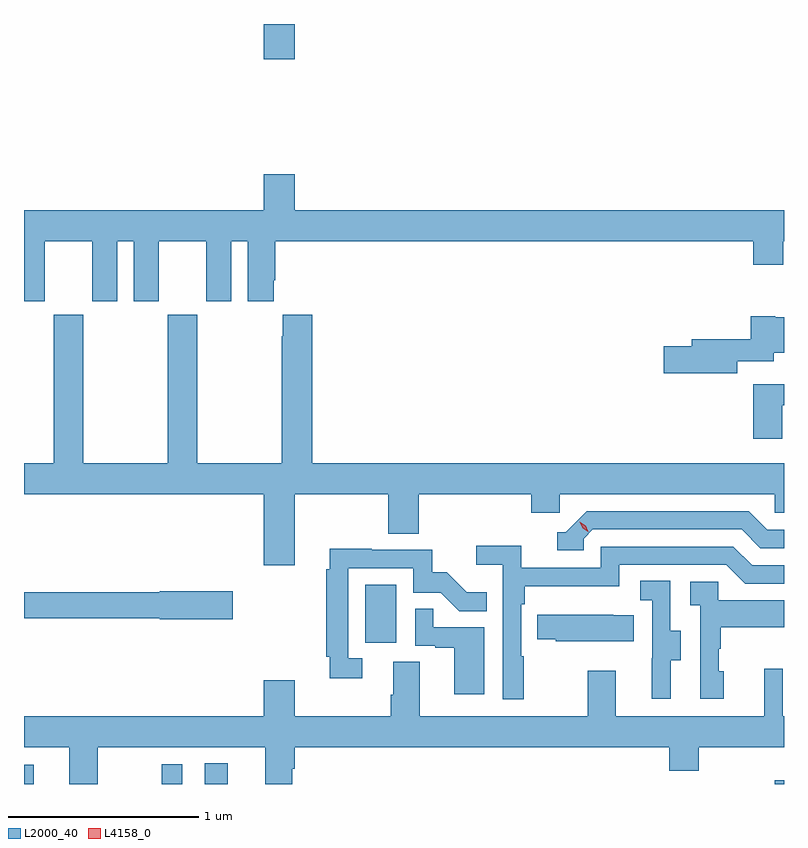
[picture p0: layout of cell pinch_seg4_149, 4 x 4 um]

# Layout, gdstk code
import gdstk
lib = gdstk.Library(unit=1e-6, precision=1e-09)
def R(c, l, rs):  # rectangles x0, y0, x1, y1
    for r in rs: c.add(gdstk.rectangle(r[:2], r[2:], *l))
def P(c, l, *ps):  # polygons
    for p in ps: c.add(gdstk.Polygon(p, *l))
L2000_40 = (2000, 40)
L4158_0 = (4158, 0)

pinch_seg4_149 = lib.new_cell('pinch_seg4_149')
R(pinch_seg4_149, L2000_40, [(1134.774,792.631,1134.824,792.733), (1135.5,792.631,1135.608,792.736), (1135.724,792.631,1135.846,792.739), (1138.725,792.631,1138.774,792.652), (1136.57,793.374,1136.734,793.681), (1136.036,796.446,1136.2,796.631)])
P(pinch_seg4_149, L2000_40, [(1134.883,795.488),(1135.133,795.488),(1135.133,795.171),(1135.264,795.171),(1135.264,795.488),(1135.352,795.488),(1135.352,795.171),(1135.483,795.171),(1135.483,795.488),(1135.733,795.488),(1135.733,795.171),(1135.864,795.171),(1135.864,795.488),(1135.952,795.488),(1135.952,795.171),(1136.089,795.171),(1136.089,795.283),(1136.096,795.283),(1136.096,795.488),(1138.613,795.488),(1138.613,795.364),(1138.769,795.364),(1138.769,795.488),(1138.774,795.488),(1138.774,795.652),(1136.2,795.652),(1136.2,795.841),(1136.036,795.841),(1136.036,795.652),(1134.774,795.652),(1134.774,795.171),(1134.883,795.171)],
  [(1136.2,794.156),(1136.692,794.156),(1136.692,793.948),(1136.852,793.948),(1136.852,794.156),(1137.443,794.156),(1137.443,794.058),(1137.594,794.058),(1137.594,794.156),(1138.725,794.156),(1138.725,794.058),(1138.774,794.058),(1138.774,794.32),(1136.291,794.32),(1136.291,795.1),(1136.135,795.1),(1136.135,794.987),(1136.131,794.987),(1136.131,794.32),(1135.686,794.32),(1135.686,795.1),(1135.531,795.1),(1135.531,794.32),(1135.086,794.32),(1135.086,795.1),(1134.931,795.1),(1134.931,794.32),(1134.774,794.32),(1134.774,794.156),(1136.036,794.156),(1136.036,793.782),(1136.2,793.782)],
  [(1138.528,794.856),(1138.72,794.856),(1138.72,794.9),(1138.774,794.9),(1138.774,795.088),(1138.728,795.088),(1138.728,795.094),(1138.598,795.094),(1138.598,794.972),(1138.289,794.972),(1138.289,794.936),(1138.14,794.936),(1138.14,794.794),(1138.528,794.794)],
  [(1138.765,794.625),(1138.774,794.625),(1138.774,794.734),(1138.613,794.734),(1138.613,794.448),(1138.765,794.448)],
  [(1137.72,793.923),(1137.768,793.971),(1138.551,793.971),(1138.65,793.872),(1138.774,793.872),(1138.774,793.968),(1138.687,793.968),(1138.588,794.067),(1137.735,794.067),(1137.624,793.956),(1137.581,793.956),(1137.581,793.86),(1137.72,793.86)],
  [(1137.403,793.304),(1137.39,793.304),(1137.39,793.577),(1137.41,793.577),(1137.41,793.673),(1137.906,793.673),(1137.906,793.785),(1138.47,793.785),(1138.569,793.686),(1138.774,793.686),(1138.774,793.782),(1138.606,793.782),(1138.507,793.881),(1137.81,793.881),(1137.81,793.77),(1137.392,793.77),(1137.392,793.886),(1137.153,793.886),(1137.153,793.784),(1137.294,793.784),(1137.294,793.077),(1137.403,793.077)],
  [(1136.554,793.293),(1136.481,793.293),(1136.481,793.767),(1136.823,793.767),(1136.823,793.638),(1136.967,793.638),(1137.065,793.54),(1137.209,793.54),(1137.209,793.639),(1137.105,793.639),(1136.998,793.746),(1136.922,793.746),(1136.922,793.863),(1136.603,793.863),(1136.603,793.868),(1136.384,793.868),(1136.384,793.76),(1136.365,793.76),(1136.365,793.3),(1136.384,793.3),(1136.384,793.188),(1136.554,793.188)],
  [(1138.177,793.282),(1138.231,793.282),(1138.231,793.437),(1138.176,793.437),(1138.176,793.7),(1138.017,793.7),(1138.017,793.597),(1138.08,793.597),(1138.08,793.293),(1138.079,793.293),(1138.079,793.08),(1138.177,793.08)],
  [(1138.456,793.224),(1138.431,793.224),(1138.431,793.343),(1138.441,793.343),(1138.441,793.457),(1138.774,793.457),(1138.774,793.597),(1138.428,793.597),(1138.428,793.695),(1138.281,793.695),(1138.281,793.571),(1138.332,793.571),(1138.332,793.08),(1138.456,793.08)],
  [(1135.873,793.646),(1135.488,793.646),(1135.488,793.64),(1134.774,793.64),(1134.774,793.504),(1135.488,793.504),(1135.488,793.499),(1135.873,793.499)],
  [(1137.196,793.455),(1136.927,793.455),(1136.927,793.553),(1136.832,793.553),(1136.832,793.359),(1136.939,793.359),(1136.939,793.347),(1137.038,793.347),(1137.038,793.104),(1137.196,793.104)],
  [(1137.983,793.519),(1137.875,793.519),(1137.875,793.522),(1137.475,793.522),(1137.475,793.393),(1137.573,793.393),(1137.573,793.382),(1137.983,793.382)],
  [(1135.161,792.824),(1136.045,792.824),(1136.045,792.631),(1136.185,792.631),(1136.185,792.712),(1136.198,792.712),(1136.198,792.824),(1138.169,792.824),(1138.169,792.7),(1138.325,792.7),(1138.325,792.824),(1138.774,792.824),(1138.774,792.988),(1138.767,792.988),(1138.767,793.237),(1138.67,793.237),(1138.67,792.988),(1137.889,792.988),(1137.889,793.228),(1137.742,793.228),(1137.742,792.988),(1136.857,792.988),(1136.857,793.274),(1136.717,793.274),(1136.717,793.1),(1136.705,793.1),(1136.705,792.988),(1136.2,792.988),(1136.2,793.177),(1136.036,793.177),(1136.036,792.988),(1134.774,792.988),(1134.774,792.824),(1135.013,792.824),(1135.013,792.631),(1135.161,792.631)])
P(pinch_seg4_149, L4158_0, [(1137.745,793.958),(1137.715,793.978),(1137.699,794.011),(1137.699,794.011),(1137.699,794.011),(1137.73,793.991),(1137.745,793.959),(1137.745,793.958)])

lib.write_gds('pinch_seg4_149.gds')
